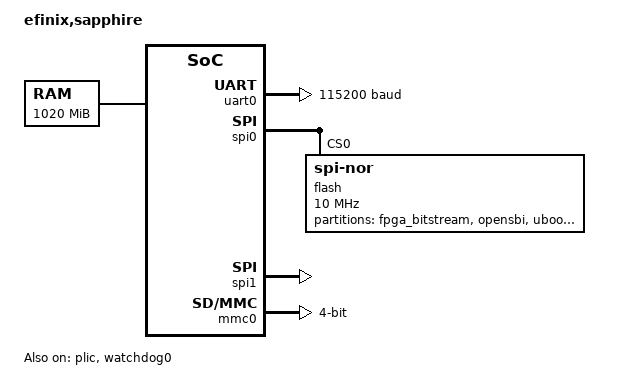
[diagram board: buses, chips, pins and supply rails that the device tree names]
/dts-v1/;
#include <dt-bindings/gpio/gpio.h>
#include <dt-bindings/interrupt-controller/irq.h>
/include/ "sapphire.dtsi"

/ {
	#address-cells = <1>;
	#size-cells = <1>;
	model = "efinix,sapphire";

	
	memory {
		device_type = "memory";
		reg = <0x400000 0x3fc00000>;
	};
	
		
        chosen {
        	stdout-path = "serial0:115200n8";
        	bootargs = "rootwait console=ttySL0 earlycon root=/dev/mmcblk0p2 init=/sbin/init mmc_core.use_spi_crc=0";
        };
		
        aliases {
        	serial0 = &uart0;
        };
		
        gpio-irq-example {
                status = "disabled";
        	reg = <0x0>;
        	compatible = "efinix,gpio-irq";
        	interrupt-parent = <&gpio0>;
        	interrupts = <0 IRQ_TYPE_EDGE_RISING>;
        };
	
	reserved-memory {
		#address-cells = <1>;
		#size-cells = <1>;
		ranges;
		
                opensbi: opensbi@2000000 {
                        status = "okay";
                	reg = <0x2000000 0x80000>;
                };
	};
};
&plic {
	riscv,ndev = <32>;
	status = "okay";
};

&clint0 {
	status = "disabled";
};


&uart1 {
	current-speed = <115200>;
	status = "disabled";
};

&uart2 {
	current-speed = <115200>;
	status = "disabled";
};

&uart0 {
	current-speed = <115200>;
	status = "okay";
};

&spi2 {
	cmd_fifo_depth = <256>;
	rsp_fifo_depth = <256>;
	num-cs = <1>;
	status = "disabled";
};

&spi0 {
	#address-cells = <1>;
	#size-cells = <0>;
	cmd_fifo_depth = <256>;
	rsp_fifo_depth = <256>;
	num-cs = <1>;
	status = "okay";
	
        flash: flash@0 {
        	#address-cells = <1>;
        	#size-cells = <1>;
                status = "okay";
        	reg = <0>;
        	compatible = "jedec,spi-nor";
        	spi-max-frequency = <10000000>;
        		
                partition@0 {
                        status = "okay";
                	reg = <0x0 0x600000>;
                	label = "fpga_bitstream";
                };
        		
                partition@600000 {
                        status = "okay";
                	reg = <0x600000 0x80000>;
                	label = "opensbi";
                };
        		
                partition@680000 {
                        status = "okay";
                	reg = <0x680000 0xc0000>;
                	label = "uboot";
                };
        		
                partition@740000 {
                        status = "okay";
                	reg = <0x740000 0x10000>;
                	label = "dtb";
                };
        		
                partition@750000 {
                        status = "okay";
                	reg = <0x750000 0x10000>;
                	label = "bootscr";
                };
        		
                partition@760000 {
                        status = "okay";
                	reg = <0x760000 0xa0000>;
                	label = "reserved";
                };
        		
                partition@800000 {
                        status = "okay";
                	reg = <0x800000 0x800000>;
                	label = "kernel";
                };
        };
};

&spi1 {
	cmd_fifo_depth = <256>;
	rsp_fifo_depth = <256>;
	num-cs = <1>;
	status = "okay";
};

&i2c2 {
	status = "disabled";
};

&i2c1 {
	status = "disabled";
};

&i2c0 {
	status = "disabled";
};

&gpio0 {
	#gpio-cells = <2>;
	ngpio = <4>;
	gpio-controller;
	status = "disabled";
};

&mmc0 {
	bus-width = <4>;
	no-sdio;
	no-mmc;
	max-frequency = <100000000>;
	status = "okay";
};

&watchdog0 {
	status = "okay";
};


/include/ "ti375_oob-linux.dtsi"
